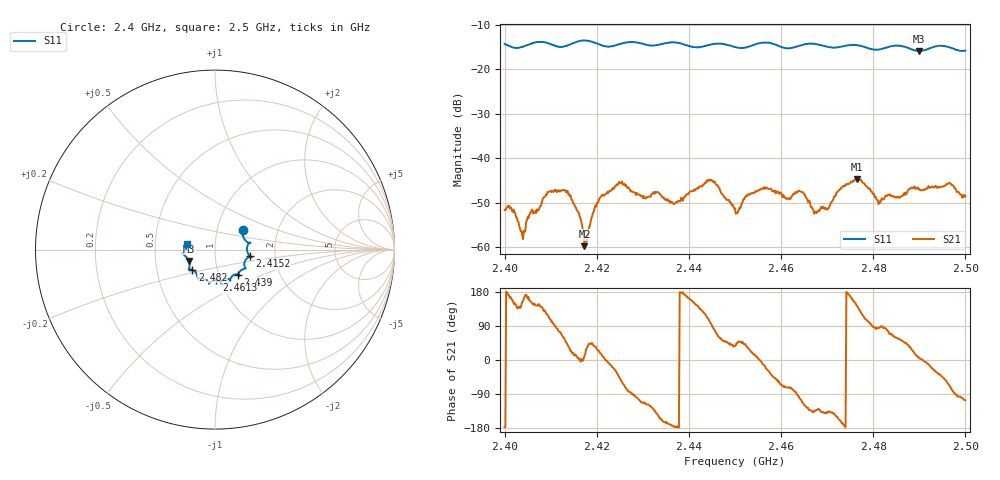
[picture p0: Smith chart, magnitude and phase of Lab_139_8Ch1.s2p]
# Hz S RI R 50
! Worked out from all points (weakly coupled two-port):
!   601 points, 2.4 GHz to 2.5 GHz, reference 50 ohm
!   highest |S21| = -44.74 dB at 2.4765 GHz (marker M1); lowest = -59.8 dB at 2.4173 GHz (marker M2)
!   lowest |S11| = -15.9 dB at 2.49 GHz (marker M3), VSWR 1.38, Z = 37 - j4.8 ohm
!   |S11| at or under -10 dB: start of sweep to end of sweep
!   S12 and S22 are empty: the file has one direction only
!   S11 on the Smith chart (normalised r, x): 2.4 GHz: 1.33, +0.31; 2.4152 GHz: 1.48, -0.11; 2.439 GHz: 1.24, -0.36; 2.4613 GHz: 0.96, -0.34; 2.482 GHz: 0.76, -0.17; 2.5 GHz: 0.73, +0.05
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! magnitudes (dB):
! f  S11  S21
! 2.4 GHz  -14.4  -51.6
! 2.404 GHz  -15.0  -58.2
! 2.4098 GHz  -14.3  -47.4
! 2.4152 GHz  -14.0  -50.6
! 2.4167 GHz  -13.6  -54.5
! 2.4173 GHz  -13.6  -59.8
! 2.4207 GHz  -14.5  -48.9
! 2.4245 GHz  -14.5  -46.0
! 2.4333 GHz  -14.5  -47.6
! 2.439 GHz  -14.5  -48.7
! 2.4447 GHz  -14.5  -45.1
! 2.45 GHz  -15.0  -51.3
! 2.4563 GHz  -14.0  -46.5
! 2.4613 GHz  -15.3  -49.2
! 2.4643 GHz  -14.6  -47.5
! 2.4667 GHz  -14.3  -51.0
! 2.47 GHz  -15.0  -51.6
! 2.4765 GHz  -14.6  -44.7
! 2.482 GHz  -15.4  -49.3
! 2.4833 GHz  -15.0  -48.3
! 2.49 GHz  -15.9  -46.9
! 2.5 GHz  -15.8  -48.6
